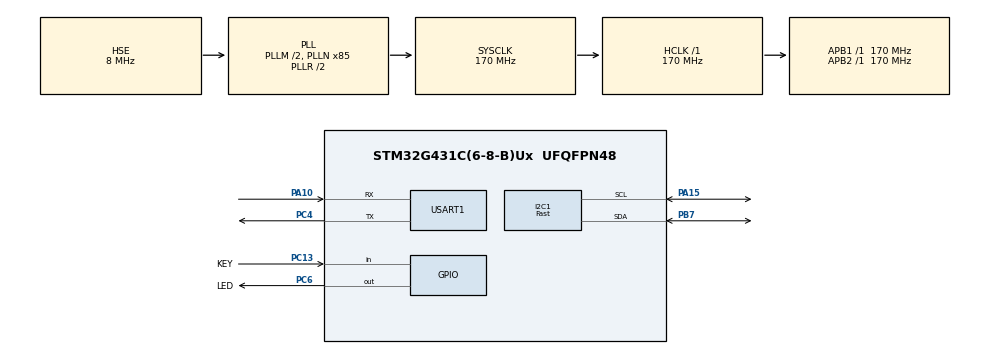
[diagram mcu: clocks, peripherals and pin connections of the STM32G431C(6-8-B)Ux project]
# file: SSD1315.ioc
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I2C1.CustomTiming=Disabled
I2C1.I2C_Speed_Mode=I2C_Fast
I2C1.Timing=0x40621236
Mcu.Family=STM32G4
Mcu.Name=STM32G431C(6-8-B)Ux
Mcu.Package=UFQFPN48
NVIC.PriorityGroup=NVIC_PRIORITYGROUP_4
PA10.Mode=Asynchronous
PA10.Signal=USART1_RX
PA13.Mode=Trace_Asynchronous_SW
PA13.Signal=SYS_JTMS-SWDIO
PA14.Mode=Trace_Asynchronous_SW
PA14.Signal=SYS_JTCK-SWCLK
PA15.GPIO_Pu=GPIO_PULLUP
PA15.Mode=I2C
PA15.Signal=I2C1_SCL
PB3.Mode=Trace_Asynchronous_SW
PB3.Signal=SYS_JTDO-SWO
PB7.GPIO_Pu=GPIO_PULLUP
PB7.Mode=I2C
PB7.Signal=I2C1_SDA
PC13.GPIO_Label=KEY
PC13.GPIO_PuPd=GPIO_PULLDOWN
PC13.Signal=GPIO_Input
PC4.Mode=Asynchronous
PC4.Signal=USART1_TX
PC6.GPIO_Label=LED
PC6.GPIO_ModeDefaultOutputPP=GPIO_MODE_OUTPUT_PP
PC6.GPIO_Speed=GPIO_SPEED_FREQ_LOW
PC6.PinState=GPIO_PIN_RESET
PC6.Signal=GPIO_Output
PF0-OSC_IN.Mode=HSE-External-Oscillator
PF0-OSC_IN.Signal=RCC_OSC_IN
PF1-OSC_OUT.Mode=HSE-External-Oscillator
PF1-OSC_OUT.Signal=RCC_OSC_OUT
ProjectManager.HeapSize=0x200
ProjectManager.StackSize=0x400
ProjectManager.TargetToolchain=STM32CubeIDE
RCC.ADC12Freq_Value=170000000
RCC.AHBFreq_Value=170000000
RCC.APB1Freq_Value=170000000
RCC.APB1TimFreq_Value=170000000
RCC.APB2Freq_Value=170000000
RCC.APB2TimFreq_Value=170000000
RCC.CortexFreq_Value=170000000
RCC.EXTERNAL_CLOCK_VALUE=12288000
RCC.HCLKFreq_Value=170000000
RCC.HSE_VALUE=8000000
RCC.HSI48_VALUE=48000000
RCC.HSI_VALUE=16000000
RCC.LSE_VALUE=32768
RCC.PLLM=RCC_PLLM_DIV2
RCC.PLLN=85
RCC.PLLSourceVirtual=RCC_PLLSOURCE_HSE
RCC.SYSCLKFreq_VALUE=170000000
RCC.SYSCLKSource=RCC_SYSCLKSOURCE_PLLCLK
RCC.USBFreq_Value=170000000
RCC.VCOOutputFreq_Value=340000000
USART1.VirtualMode-Asynchronous=VM_ASYNC
VP_SYS_VS_DBSignals.Mode=DisableDeadBatterySignals
board=custom

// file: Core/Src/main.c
/* USER CODE BEGIN Header */
/**
  ******************************************************************************
  * @file           : main.c
  * @brief          : Main program body
  ******************************************************************************
  * @attention
  *
  * Copyright (c) 2025 STMicroelectronics.
  * All rights reserved.
  *
  * This software is licensed under terms that can be found in the LICENSE file
  * in the root directory of this software component.
  * If no LICENSE file comes with this software, it is provided AS-IS.
  *
  ******************************************************************************
  */
/* USER CODE END Header */
#include "main.h"

/* USER CODE BEGIN Includes */

#include "console.h"
#include "ssd1315.h"

/* USER CODE END Includes */

I2C_HandleTypeDef hi2c1;

UART_HandleTypeDef huart1;

void SystemClock_Config(void);
static void MX_GPIO_Init(void);
static void MX_I2C1_Init(void);
static void MX_USART1_UART_Init(void);

int main(void)
{

  /* USER CODE BEGIN 1 */

	SSD1315Struct Display;

  /* USER CODE END 1 */

  /* MCU Configuration--------------------------------------------------------*/

  /* Reset of all peripherals, Initializes the Flash interface and the Systick. */
  HAL_Init();

  /* Configure the system clock */
  SystemClock_Config();

  /* Initialize all configured peripherals */
  MX_GPIO_Init();
  MX_I2C1_Init();
  MX_USART1_UART_Init();
  /* USER CODE BEGIN 2 */

  LCD_Init(&Display, &hi2c1, 0x3C);

  // Clear Display
  LCD_Clear(&Display);
  LCD_Update(&Display);

  // Draw Pixels
  LCD_DrawPixel(&Display, 0,0, PIXEL_ON);
  LCD_DrawPixel(&Display, 127,0, PIXEL_ON);
  LCD_DrawPixel(&Display, 127,63, PIXEL_ON);
  LCD_DrawPixel(&Display, 0,63, PIXEL_ON);
  LCD_DrawPixel(&Display, 63,31, PIXEL_ON);
  LCD_Update(&Display);
  HAL_Delay(3000);

  // Draw Lines
  LCD_Cache_Clear(&Display);
  LCD_DrawLine(&Display, 0,0,127,63, PIXEL_ON);
  LCD_DrawLine(&Display, 0,63,127,0, PIXEL_ON);
  LCD_Update(&Display);
  HAL_Delay(3000);

  // Draw Circles
  LCD_Cache_Clear(&Display);
  LCD_DrawCircle(&Display, 63,31,20, PIXEL_ON);
  LCD_DrawCircle(&Display, 63,31,25, PIXEL_ON);
  LCD_DrawCircle(&Display, 63,31,30, PIXEL_ON);
  LCD_Update(&Display);
  HAL_Delay(3000);

  // Draw Rectangles
  LCD_Cache_Clear(&Display);
  LCD_DrawRect(&Display, 10,10,117,53, PIXEL_ON);
  LCD_DrawRect(&Display, 0,0,24,24, PIXEL_ON);
  LCD_DrawRect(&Display, 103,39,127,63, PIXEL_ON);
  LCD_Update(&Display);
  HAL_Delay(3000);

  //Print Text
  uint8_t buf[] = " Hello!";
  LCD_Cache_Clear(&Display);
  LCD_SetTextPos(&Display, 0, 0);
  LCD_Print(&Display, buf, 1); // Font Size 1
  LCD_Update(&Display);
  //HAL_Delay(3000);

  LCD_SetTextPos(&Display, 0, 2);
  LCD_Print(&Display, buf, 2); // Font Size 2
  LCD_Update(&Display);
  HAL_Delay(3000);

  //Print Numbers
  LCD_Cache_Clear(&Display);
  uint8_t bufNumbers[] = "23.45";
  LCD_SetTextPos(&Display, 0, 0);
  LCD_Print(&Display, bufNumbers, 2); // Font Size 2

  LCD_SetTextPos(&Display, 0, 4);
  LCD_Print(&Display, bufNumbers, 4); // Font Size 4
  LCD_Update(&Display);
  HAL_Delay(3000);

  //Menu
  uint8_t items[4][8]= {" Item 1\0", " Item 2\0", " Item 3\0", " Item 4\0"} ;

  for (uint8_t item=0; item<4; item++) {
	  LCD_Cache_Clear(&Display);

	  for (uint8_t i=0; i<4; i++) {
		  LCD_SetTextPos(&Display, 0, i);
		  LCD_Print(&Display, items[i], 1);
	  }

	  LCD_SetTextPos(&Display, 0, item);
	  LCD_Chr(&Display, '>', 1);
	  LCD_IvertLine(&Display, item);

	  LCD_Update(&Display);
	  HAL_Delay(1000);
  }

  //Draw Image
  uint8_t Picture[8][128] =
    	{
    	 {0x0,0x0,0x0,0x0,0x0,0x0,0x0,0x0,0x0,0x0,0xE0,0xE0,0xE0,0xE0,0xE0,0xE0,0xE0,0xE0,0xE0,0x0,0x0,0x0,0x0,0x0,0x0,0x0,0x0,0x0,0x0,0x0,0x0,0x0,0x0,0x0,0x0,0x0,0x0,0x0,0x0,0x0,0x0,0x0,0xE0,0xE0,0xE0,0xE0,0xE0,0x0,0x0,0x0,0x0,0x0,0x0,0x0,0x0,0x0,0x0,0x0,0x0,0x0,0x0,0x0,0x0,0x0,0x0,0x0,0x0,0xE0,0xE0,0xE0,0xE0,0xE0,0x0,0x0,0x0,0x0,0x0,0x0,0x0,0x0,0x0,0x0,0x0,0x0,0x0,0x0,0x0,0x0,0x0,0x0,0x0,0x0,0x0,0xE0,0xE0,0xE0,0xE0,0xE0,0x0,0x0,0x0,0x0,0x0,0x0,0x0,0x0,0x0,0x0,0x0,0x0,0x0,0x0,0x0,0x0,0x0,0x0,0x0,0x0,0x0,0x0,0x0,0x0,0x0,0x0,0x0,0x0,0x0,0x0},
    	 {0x0,0x0,0x0,0x0,0x0,0x0,0x0,0xC0,0xF8,0xFF,0xFF,0xFF,0xFF,0x1F,0x3,0x1F,0xFF,0xFF,0xFF,0xFF,0xF8,0xC0,0x0,0x0,0x0,0x4,0x3C,0xFC,0xFC,0xFC,0xF8,0x80,0x0,0x80,0xF8,0xFC,0xFC,0xFC,0x3C,0x4,0x0,0x0,0xFC,0xFC,0xFC,0xFC,0xFC,0x0,0x0,0x0,0xF0,0xF8,0xF8,0xFC,0xFC,0x9C,0x9C,0x9C,0x9C,0xBC,0x3C,0x38,0x30,0x20,0x0,0x0,0x0,0xFF,0xFF,0xFF,0xFF,0xFF,0x0,0x0,0x0,0x30,0x38,0x78,0x7C,0x7C,0x3C,0x1C,0x1C,0x9C,0xFC,0xFC,0xF8,0xF8,0xE0,0x0,0x0,0x0,0x0,0xFF,0xFF,0xFF,0xFF,0xFF,0x38,0x1C,0x1C,0x3C,0xFC,0xFC,0xF8,0xF0,0xC0,0x0,0x0,0x0,0x0,0x0,0x0,0x0,0x0,0x0,0x0,0x0,0x0,0x0,0x0,0x0,0x0,0x0,0x0,0x0,0x0,0x0},
    	 {0x0,0x0,0x0,0x0,0x80,0xF0,0xFE,0xFF,0xFF,0xFF,0x7F,0x1F,0x1F,0x1F,0x1F,0x1F,0x1F,0x1F,0x7F,0xFF,0xFF,0xFF,0xFE,0xF0,0x80,0x0,0x0,0x1,0x7,0x3F,0xFF,0xFF,0xF8,0xFF,0xFF,0x3F,0x7,0x0,0x0,0x0,0x0,0x0,0xFF,0xFF,0xFF,0xFF,0xFF,0x0,0x0,0x10,0x70,0x79,0xFB,0xFB,0xF3,0xE3,0xE7,0xE7,0xE7,0xFF,0xFF,0x7F,0x3E,0x1C,0x0,0x0,0x0,0xFF,0xFF,0xFF,0xFF,0xFF,0x0,0x0,0x0,0x3C,0x7E,0xFE,0xFF,0xFF,0xE7,0xE7,0x63,0x73,0x7F,0xFF,0xFF,0xFF,0xFF,0x0,0x0,0x0,0x0,0xFF,0xFF,0xFF,0xFF,0xFF,0x70,0xE0,0xE0,0xF0,0xFF,0xFF,0x7F,0x3F,0xF,0x0,0x0,0x0,0x0,0x0,0x0,0x0,0x0,0x0,0x0,0x80,0x80,0xC0,0xE0,0xF0,0x70,0x38,0x38,0x10,0x0,0x0},
    	 {0x0,0x0,0x0,0x0,0x0,0x80,0x80,0x0,0x0,0x0,0x0,0x80,0x80,0x80,0x0,0x0,0x80,0x30,0x20,0xB0,0x0,0x80,0x80,0x80,0x80,0x80,0x0,0x0,0x0,0x0,0x0,0x80,0x80,0x80,0x0,0x0,0x80,0x80,0x80,0x80,0x0,0x0,0x0,0x80,0x80,0x0,0x0,0x0,0x0,0x0,0x0,0x0,0x0,0x0,0x0,0x0,0x0,0x0,0x0,0x0,0x0,0x0,0x0,0x0,0x0,0x0,0x0,0x0,0x0,0x0,0x0,0x0,0x0,0x0,0x0,0x0,0x0,0x0,0x0,0x0,0x0,0x0,0x0,0x0,0x0,0x0,0x0,0x0,0x0,0x0,0x0,0x0,0x0,0x0,0x0,0x0,0x0,0x0,0x0,0x0,0x0,0x0,0x0,0x0,0x0,0x0,0x0,0x0,0x80,0xE0,0xF8,0xF8,0xFC,0xFC,0xFE,0xFF,0x3F,0x1F,0xF,0x3,0x1,0x0,0x0,0x0,0x0,0x0,0x0,0x0},
    	 {0x0,0x0,0x0,0x0,0x7,0x8,0x8,0x5,0x0,0x0,0xC,0xA,0xA,0xF,0x0,0x0,0xF,0x6,0x1,0xF,0x0,0x0,0x0,0xF,0x0,0x0,0x0,0x0,0x0,0x0,0x1C,0xB,0x8,0xF,0x18,0x8,0x7,0x0,0x0,0xF,0x0,0x0,0xD,0x2,0xF,0x0,0x0,0x0,0x0,0x0,0x0,0x0,0x0,0x0,0x0,0x0,0x0,0x0,0x0,0x0,0x0,0x0,0x0,0x0,0x0,0x0,0x0,0x0,0x0,0x0,0x0,0x0,0x0,0x0,0x0,0x0,0x0,0x0,0x0,0x0,0x0,0x0,0x0,0x0,0x0,0x0,0x0,0x80,0x0,0x0,0x0,0x0,0x0,0x0,0x0,0x0,0x0,0x0,0x0,0x0,0x80,0xC0,0xE0,0xE0,0xF0,0x78,0x3C,0x1E,0xF,0x7,0x7,0x3,0x1,0x1,0x1,0x0,0x0,0x0,0x0,0x0,0x0,0x0,0x0,0x0,0x0,0x0,0x0,0x0},
    	 {0x0,0x0,0x0,0x0,0x3E,0x2,0x2,0x3E,0x0,0x0,0x30,0x2A,0x2A,0x3E,0x0,0x20,0x1E,0x2,0x2,0x3E,0x0,0x0,0x3E,0x1C,0x22,0x0,0x0,0x3E,0x18,0x4,0x3E,0x0,0x22,0x14,0x8,0x14,0x22,0x0,0x0,0x0,0x0,0x3E,0x2,0x2,0x3E,0x0,0x0,0x30,0x2A,0x2A,0x3E,0x0,0x0,0x34,0xA,0x3E,0x0,0x20,0x1E,0x2,0x2,0x3E,0x0,0x0,0x3E,0x28,0x28,0x10,0x0,0x0,0x3E,0x8,0x8,0x3E,0x0,0x0,0x3E,0x18,0x4,0x3E,0x0,0x0,0x3E,0x1C,0x22,0x0,0x0,0x3E,0x0,0x0,0x3E,0x2A,0x14,0x0,0x0,0x0,0x20,0x10,0x18,0xE,0x7,0x7,0x3,0x1,0x0,0x0,0x0,0x0,0x0,0x0,0x0,0x0,0x0,0x0,0x0,0x0,0x0,0x0,0x0,0x0,0x0,0x0,0x0,0x0,0x0,0x0,0x0,0x0},
    	 {0x0,0x0,0x0,0x0,0x0,0x0,0x0,0x0,0x0,0x0,0x0,0x0,0x0,0x0,0x0,0x0,0x0,0x0,0x0,0x0,0x0,0x0,0x0,0x0,0x0,0x0,0x0,0x0,0x0,0x0,0x0,0x0,0x0,0x0,0x0,0x0,0x0,0x0,0x0,0x0,0x0,0x0,0x0,0x0,0x0,0x0,0x80,0x0,0x0,0x0,0x0,0x0,0x0,0x80,0x0,0x0,0x0,0x0,0x0,0x0,0x0,0x0,0x80,0x0,0x0,0x0,0x0,0x0,0x0,0x0,0x0,0x0,0x0,0x0,0x0,0x0,0x0,0x0,0x0,0x0,0x0,0x0,0x0,0x0,0x0,0x0,0x0,0x0,0x0,0x0,0x0,0x0,0x80,0x0,0x80,0x0,0x0,0x0,0x0,0x0,0x80,0x0,0x0,0x0,0x0,0x0,0x0,0x0,0x0,0x0,0x0,0x0,0x0,0x0,0x0,0x0,0x80,0x0,0x0,0x0,0x0,0x0,0x0,0x0,0x0,0x0,0x0,0x0},
    	 {0x0,0x0,0x0,0x0,0x0,0x0,0x0,0x0,0x0,0x0,0x1E,0x20,0x1C,0x2,0x1C,0x20,0x1E,0x1E,0x20,0x1C,0x2,0x1C,0x20,0x1E,0x1E,0x20,0x1C,0x2,0x1C,0x20,0x1E,0x0,0x20,0x0,0x0,0x30,0x2A,0x2A,0x3E,0x0,0x2,0x1C,0x20,0x1C,0x2,0x0,0x3E,0x0,0x24,0x2A,0x2A,0x12,0x0,0x3F,0x0,0x0,0x30,0x2A,0x2A,0x3E,0x0,0x0,0x3F,0x22,0x22,0x1C,0x0,0x0,0x20,0x0,0x0,0x1C,0x22,0x22,0x14,0x0,0x1C,0x22,0x22,0x1C,0x0,0x0,0x3E,0x2,0x2,0x3E,0x2,0x2,0x3C,0x0,0x30,0xE,0x1,0x0,0x3F,0x22,0x22,0x1C,0x0,0x0,0x3F,0x0,0x0,0x1C,0x22,0x22,0x1C,0x0,0x0,0x5C,0xA2,0xA2,0x7E,0x0,0x30,0xE,0x1,0x0,0x0,0x0,0x0,0x0,0x0,0x0,0x0,0x0,0x0,0x0}
    	};

  LCD_Image(&Display, (uint8_t *)&Picture);
  LCD_Update(&Display);

  /* USER CODE END 2 */

  /* Infinite loop */
  /* USER CODE BEGIN WHILE */
  while (1)
  {
	  HAL_GPIO_TogglePin(LED_GPIO_Port, LED_Pin);
	  HAL_Delay(500);
    /* USER CODE END WHILE */

  }
}

void SystemClock_Config(void)
{
  RCC_OscInitTypeDef RCC_OscInitStruct = {0};
  RCC_ClkInitTypeDef RCC_ClkInitStruct = {0};

  /** Configure the main internal regulator output voltage
  */
  HAL_PWREx_ControlVoltageScaling(PWR_REGULATOR_VOLTAGE_SCALE1_BOOST);

  /** Initializes the RCC Oscillators according to the specified parameters
  * in the RCC_OscInitTypeDef structure.
  */
  RCC_OscInitStruct.OscillatorType = RCC_OSCILLATORTYPE_HSE;
  RCC_OscInitStruct.HSEState = RCC_HSE_ON;
  RCC_OscInitStruct.PLL.PLLState = RCC_PLL_ON;
  RCC_OscInitStruct.PLL.PLLSource = RCC_PLLSOURCE_HSE;
  RCC_OscInitStruct.PLL.PLLM = RCC_PLLM_DIV2;
  RCC_OscInitStruct.PLL.PLLN = 85;
  RCC_OscInitStruct.PLL.PLLP = RCC_PLLP_DIV2;
  RCC_OscInitStruct.PLL.PLLQ = RCC_PLLQ_DIV2;
  RCC_OscInitStruct.PLL.PLLR = RCC_PLLR_DIV2;
  if (HAL_RCC_OscConfig(&RCC_OscInitStruct) != HAL_OK)
  {
    Error_Handler();
  }

  /** Initializes the CPU, AHB and APB buses clocks
  */
  RCC_ClkInitStruct.ClockType = RCC_CLOCKTYPE_HCLK|RCC_CLOCKTYPE_SYSCLK
                              |RCC_CLOCKTYPE_PCLK1|RCC_CLOCKTYPE_PCLK2;
  RCC_ClkInitStruct.SYSCLKSource = RCC_SYSCLKSOURCE_PLLCLK;
  RCC_ClkInitStruct.AHBCLKDivider = RCC_SYSCLK_DIV1;
  RCC_ClkInitStruct.APB1CLKDivider = RCC_HCLK_DIV1;
  RCC_ClkInitStruct.APB2CLKDivider = RCC_HCLK_DIV1;

  if (HAL_RCC_ClockConfig(&RCC_ClkInitStruct, FLASH_LATENCY_4) != HAL_OK)
  {
    Error_Handler();
  }
}

static void MX_I2C1_Init(void)
{

  hi2c1.Instance = I2C1;
  hi2c1.Init.Timing = 0x40621236;
  hi2c1.Init.OwnAddress1 = 0;
  hi2c1.Init.AddressingMode = I2C_ADDRESSINGMODE_7BIT;
  hi2c1.Init.DualAddressMode = I2C_DUALADDRESS_DISABLE;
  hi2c1.Init.OwnAddress2 = 0;
  hi2c1.Init.OwnAddress2Masks = I2C_OA2_NOMASK;
  hi2c1.Init.GeneralCallMode = I2C_GENERALCALL_DISABLE;
  hi2c1.Init.NoStretchMode = I2C_NOSTRETCH_DISABLE;
  if (HAL_I2C_Init(&hi2c1) != HAL_OK)
  {
    Error_Handler();
  }

  /** Configure Analogue filter
  */
  if (HAL_I2CEx_ConfigAnalogFilter(&hi2c1, I2C_ANALOGFILTER_ENABLE) != HAL_OK)
  {
    Error_Handler();
  }

  /** Configure Digital filter
  */
  if (HAL_I2CEx_ConfigDigitalFilter(&hi2c1, 0) != HAL_OK)
  {
    Error_Handler();
  }

}

static void MX_USART1_UART_Init(void)
{

  huart1.Instance = USART1;
  huart1.Init.BaudRate = 115200;
  huart1.Init.WordLength = UART_WORDLENGTH_8B;
  huart1.Init.StopBits = UART_STOPBITS_1;
  huart1.Init.Parity = UART_PARITY_NONE;
  huart1.Init.Mode = UART_MODE_TX_RX;
  huart1.Init.HwFlowCtl = UART_HWCONTROL_NONE;
  huart1.Init.OverSampling = UART_OVERSAMPLING_16;
  huart1.Init.OneBitSampling = UART_ONE_BIT_SAMPLE_DISABLE;
  huart1.Init.ClockPrescaler = UART_PRESCALER_DIV1;
  huart1.AdvancedInit.AdvFeatureInit = UART_ADVFEATURE_NO_INIT;
  if (HAL_UART_Init(&huart1) != HAL_OK)
  {
    Error_Handler();
  }
  if (HAL_UARTEx_SetTxFifoThreshold(&huart1, UART_TXFIFO_THRESHOLD_1_8) != HAL_OK)
  {
    Error_Handler();
  }
  if (HAL_UARTEx_SetRxFifoThreshold(&huart1, UART_RXFIFO_THRESHOLD_1_8) != HAL_OK)
  {
    Error_Handler();
  }
  if (HAL_UARTEx_DisableFifoMode(&huart1) != HAL_OK)
  {
    Error_Handler();
  }

}

static void MX_GPIO_Init(void)
{
  GPIO_InitTypeDef GPIO_InitStruct = {0};

  /* GPIO Ports Clock Enable */
  __HAL_RCC_GPIOC_CLK_ENABLE();
  __HAL_RCC_GPIOF_CLK_ENABLE();
  __HAL_RCC_GPIOA_CLK_ENABLE();
  __HAL_RCC_GPIOB_CLK_ENABLE();

  /*Configure GPIO pin Output Level */
  HAL_GPIO_WritePin(LED_GPIO_Port, LED_Pin, GPIO_PIN_RESET);

  /*Configure GPIO pin : KEY_Pin */
  GPIO_InitStruct.Pin = KEY_Pin;
  GPIO_InitStruct.Mode = GPIO_MODE_INPUT;
  GPIO_InitStruct.Pull = GPIO_PULLDOWN;
  HAL_GPIO_Init(KEY_GPIO_Port, &GPIO_InitStruct);

  /*Configure GPIO pin : LED_Pin */
  GPIO_InitStruct.Pin = LED_Pin;
  GPIO_InitStruct.Mode = GPIO_MODE_OUTPUT_PP;
  GPIO_InitStruct.Pull = GPIO_NOPULL;
  GPIO_InitStruct.Speed = GPIO_SPEED_FREQ_LOW;
  HAL_GPIO_Init(LED_GPIO_Port, &GPIO_InitStruct);

}

void Error_Handler(void)
{
  __disable_irq();
  while (1)
  {
  }
}
